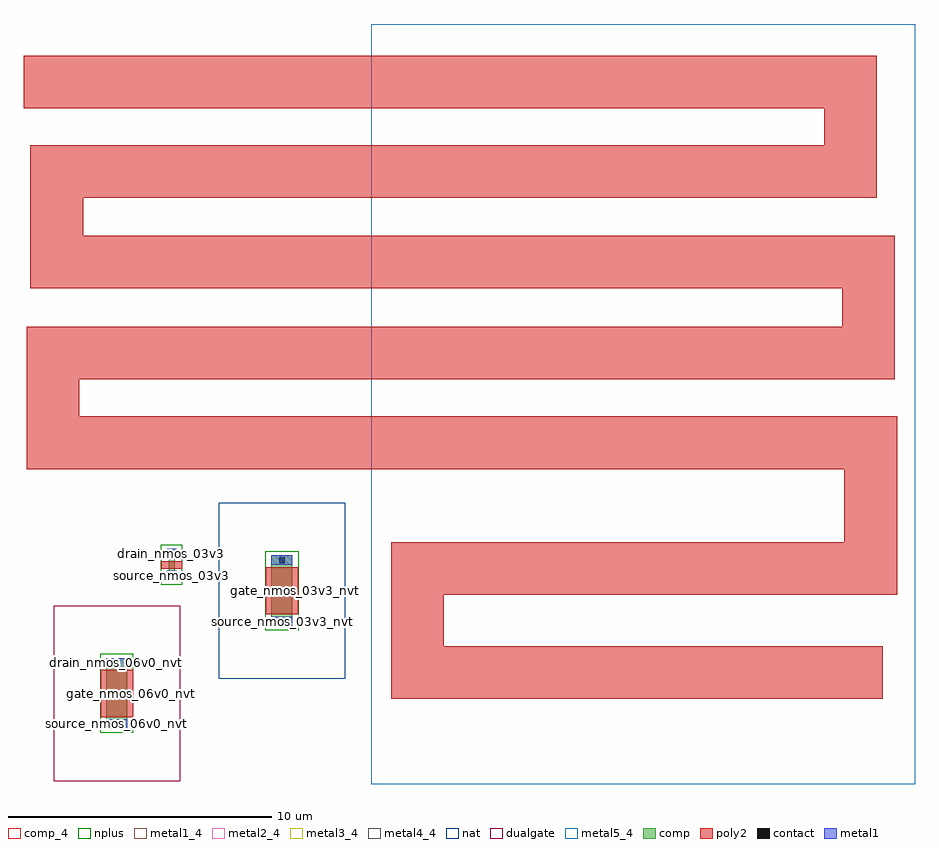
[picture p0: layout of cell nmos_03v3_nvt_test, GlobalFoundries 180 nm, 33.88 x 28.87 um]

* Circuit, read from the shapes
.subckt nmos_03v3_nvt_test drain_nmos_03v3 drain_nmos_03v3_nvt drain_nmos_06v0_nvt gate_nmos_03v3 gate_nmos_03v3_nvt gate_nmos_06v0_nvt source_nmos_03v3 source_nmos_03v3_nvt source_nmos_06v0_nvt
XM1 drain_nmos_06v0_nvt gate_nmos_06v0_nvt source_nmos_06v0_nvt VSUBS nfet_06v0_nvt w=0.8u l=1.8u
XM2 drain_nmos_03v3 gate_nmos_03v3 source_nmos_03v3 VSUBS nfet_03v3 w=0.22u l=0.28u
XM3 drain_nmos_03v3_nvt gate_nmos_03v3_nvt source_nmos_03v3_nvt VSUBS nfet_03v3 w=0.8u l=1.8u
.ends

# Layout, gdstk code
import gdstk
lib = gdstk.Library(unit=1e-6, precision=1e-09)
def R(c, l, rs):  # rectangles x0, y0, x1, y1
    for r in rs: c.add(gdstk.rectangle(r[:2], r[2:], *l))
def P(c, l, *ps):  # polygons
    for p in ps: c.add(gdstk.Polygon(p, *l))
nat = (5, 0)
comp = (22, 0)
comp_4 = (22, 4)
poly2 = (30, 0)
nplus = (32, 0)
contact = (33, 0)
metal1 = (34, 0)
metal1_4 = (34, 4)
metal2_4 = (36, 4)
metal3_4 = (42, 4)
metal4_4 = (46, 4)
dualgate = (55, 0)
metal5_4 = (81, 4)

nmos_03v3_nvt_test = lib.new_cell('nmos_03v3_nvt_test')
R(nmos_03v3_nvt_test, nat, [(-5.235,-5.4,-0.435,1.28), (1.035,-1.5,5.835,5.18)])
R(nmos_03v3_nvt_test, comp, [(-3.235,-3.4,-2.435,-0.72), (3.035,0.5,3.835,3.18)])
P(nmos_03v3_nvt_test, comp, [(-0.935,2.225),(-0.935,2.585),(-0.865,2.585),(-0.865,3.065),(-0.935,3.065),(-0.935,3.425),(-0.575,3.425),(-0.575,3.065),(-0.645,3.065),(-0.645,2.585),(-0.575,2.585),(-0.575,2.225)])
R(nmos_03v3_nvt_test, comp_4, [(6.82,-5.5,27.5,23.37)])
R(nmos_03v3_nvt_test, poly2, [(-3.455,-2.96,-2.215,-1.16), (2.815,0.94,4.055,2.74), (-1.155,2.685,-0.355,2.965)])
R(nmos_03v3_nvt_test, nplus, [(-3.465,-3.56,-2.205,-0.56), (2.805,0.34,4.065,3.34), (-1.165,2.065,-0.345,3.585)])
R(nmos_03v3_nvt_test, contact, [(-2.945,-3.33,-2.725,-3.11), (-2.945,-1.01,-2.725,-0.79), (3.325,0.57,3.545,0.79), (-0.865,2.295,-0.645,2.515), (3.325,2.89,3.545,3.11), (-0.865,3.135,-0.645,3.355)])
R(nmos_03v3_nvt_test, metal1, [(-3.235,-3.4,-2.435,-3.04), (-3.235,-1.08,-2.435,-0.72), (3.035,0.5,3.835,0.86), (-0.945,2.215,-0.565,2.595), (3.035,2.82,3.835,3.18), (-0.945,3.055,-0.565,3.435)])
R(nmos_03v3_nvt_test, metal1_4, [(6.82,-5.5,27.5,23.37)])
R(nmos_03v3_nvt_test, metal2_4, [(6.82,-5.5,27.5,23.37)])
R(nmos_03v3_nvt_test, metal3_4, [(6.82,-5.5,27.5,23.37)])
R(nmos_03v3_nvt_test, metal4_4, [(6.82,-5.5,27.5,23.37)])
R(nmos_03v3_nvt_test, dualgate, [(-5.235,-5.4,-0.435,1.28)])
R(nmos_03v3_nvt_test, metal5_4, [(6.82,-5.5,27.5,23.37)])
nmos_03v3_nvt_test.add(gdstk.FlexPath([(-6.38,21.17),(25.035,21.17),(25.035,17.765),(-5.12,17.765),(-5.12,14.335),(25.72,14.335),(25.72,10.87),(-5.265,10.87),(-5.265,7.465),(25.805,7.465),(25.805,2.69),(8.585,2.69),(8.585,-1.26),(26.265,-1.26)], 2, ends="flush", simple_path=True, layer=30, datatype=0))  # poly2
nmos_03v3_nvt_test.add(gdstk.Label('drain_nmos_03v3', (-0.755,3.245), layer=34, texttype=10))
nmos_03v3_nvt_test.add(gdstk.Label('source_nmos_03v3', (-0.755,2.405), layer=34, texttype=10))
nmos_03v3_nvt_test.add(gdstk.Label('source_nmos_06v0_nvt', (-2.845,-3.215), layer=34, texttype=10))
nmos_03v3_nvt_test.add(gdstk.Label('drain_nmos_06v0_nvt', (-2.84,-0.89), layer=34, texttype=10))
nmos_03v3_nvt_test.add(gdstk.Label('source_nmos_03v3_nvt', (3.44,0.69), layer=34, texttype=10))
nmos_03v3_nvt_test.add(gdstk.Label('drain_nmos_03v3_nvt', (3.435,3.01), layer=34, texttype=10))
nmos_03v3_nvt_test.add(gdstk.Label('gate_nmos_06v0_nvt', (-2.29,-2.06), layer=30, texttype=10))
nmos_03v3_nvt_test.add(gdstk.Label('gate_nmos_03v3', (-0.415,2.82), layer=30, texttype=10))
nmos_03v3_nvt_test.add(gdstk.Label('gate_nmos_03v3_nvt', (3.965,1.855), layer=30, texttype=10))

lib.write_gds('nmos_03v3_nvt_test.gds')
